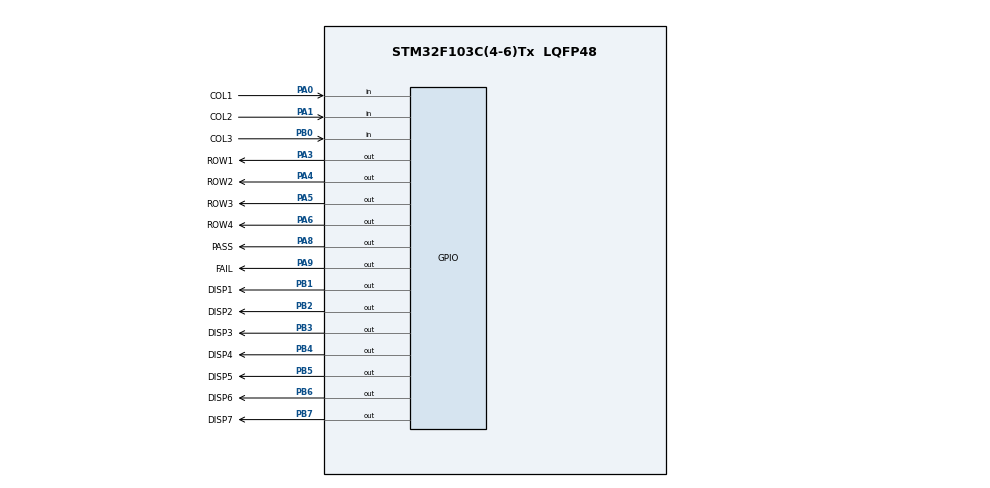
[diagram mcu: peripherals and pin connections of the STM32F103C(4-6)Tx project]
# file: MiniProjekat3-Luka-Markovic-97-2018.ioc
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Mcu.Family=STM32F1
Mcu.Name=STM32F103C(4-6)Tx
Mcu.Package=LQFP48
NVIC.PriorityGroup=NVIC_PRIORITYGROUP_4
PA0-WKUP.GPIO_Label=COL1
PA0-WKUP.Signal=GPIO_Input
PA1.GPIO_Label=COL2
PA1.Signal=GPIO_Input
PA3.GPIO_Label=ROW1
PA3.Signal=GPIO_Output
PA4.GPIO_Label=ROW2
PA4.Signal=GPIO_Output
PA5.GPIO_Label=ROW3
PA5.Signal=GPIO_Output
PA6.GPIO_Label=ROW4
PA6.Signal=GPIO_Output
PA8.GPIO_Label=PASS
PA8.Signal=GPIO_Output
PA9.GPIO_Label=FAIL
PA9.Signal=GPIO_Output
PB0.GPIO_Label=COL3
PB0.Signal=GPIO_Input
PB1.GPIO_Label=DISP1
PB1.Signal=GPIO_Output
PB2.GPIO_Label=DISP2
PB2.Signal=GPIO_Output
PB3.GPIO_Label=DISP3
PB3.Signal=GPIO_Output
PB4.GPIO_Label=DISP4
PB4.Signal=GPIO_Output
PB5.GPIO_Label=DISP5
PB5.Signal=GPIO_Output
PB6.GPIO_Label=DISP6
PB6.Signal=GPIO_Output
PB7.GPIO_Label=DISP7
PB7.Signal=GPIO_Output
ProjectManager.HeapSize=0x200
ProjectManager.StackSize=0x400
ProjectManager.TargetToolchain=STM32CubeIDE
RCC.AHBFreq_Value=8000000
RCC.APB1Freq_Value=8000000
RCC.APB1TimFreq_Value=8000000
RCC.APB2Freq_Value=8000000
RCC.APB2TimFreq_Value=8000000
RCC.HCLKFreq_Value=8000000
RCC.USBFreq_Value=8000000
board=custom

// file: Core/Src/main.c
/* USER CODE BEGIN Header */
/**
  ******************************************************************************
  * @file           : main.c
  * @brief          : Main program body
  ******************************************************************************
  * @attention
  *
  * Copyright (c) 2022 STMicroelectronics.
  * All rights reserved.
  *
  * This software is licensed under terms that can be found in the LICENSE file
  * in the root directory of this software component.
  * If no LICENSE file comes with this software, it is provided AS-IS.
  *
  ******************************************************************************
  */
/* USER CODE END Header */
#include "main.h"
#include "string.h"

void SystemClock_Config(void);
static void MX_GPIO_Init(void);

/* USER CODE BEGIN 0 */

void checkCode(char *passCode, char **inputCode)
{

	if(strlen(*inputCode) == 2)
	{
		if(strcmp(passCode,*inputCode) == 0)
		{
			HAL_GPIO_WritePin(GPIOA, PASS_Pin, 0);
		}
		else
		{
			HAL_GPIO_WritePin(GPIOA, FAIL_Pin, 0);
		}
	}
	else if (strlen(*inputCode) > 2)
	{
		strcpy(*inputCode,"");
		GPIOB->ODR = 0xFE;
		HAL_GPIO_WritePin(GPIOA, PASS_Pin, 1);
		HAL_GPIO_WritePin(GPIOA, FAIL_Pin, 1);
		return;
	}
	else
	{
		return;
	}

}

void read_keypad (char *passCode, char **inputCode)
{
	HAL_GPIO_WritePin (GPIOA, ROW1_Pin, GPIO_PIN_SET);
	HAL_GPIO_WritePin (GPIOA, ROW2_Pin, GPIO_PIN_RESET);
	HAL_GPIO_WritePin (GPIOA, ROW3_Pin, GPIO_PIN_RESET);
	HAL_GPIO_WritePin (GPIOA, ROW4_Pin, GPIO_PIN_RESET);

	if ((HAL_GPIO_ReadPin (GPIOA, COL1_Pin)))
	{
		//1
		GPIOB->ODR = ~0x0C;
		while(HAL_GPIO_ReadPin (GPIOA, COL1_Pin));
		strcat(*inputCode,"1");
		checkCode(passCode, inputCode);
		//return;
	}

	if ((HAL_GPIO_ReadPin (GPIOA, COL2_Pin)))
	{
		//2
		GPIOB->ODR = ~0xB6;
		while(HAL_GPIO_ReadPin (GPIOA, COL2_Pin));
		strcat(*inputCode,"2");
		checkCode(passCode, inputCode);
		//return;
	}

	if ((HAL_GPIO_ReadPin (GPIOB, COL3_Pin)))
	{
		//3
		GPIOB->ODR = ~0x9E;
		while(HAL_GPIO_ReadPin (GPIOB, COL3_Pin));
		strcat(*inputCode,"3");
		checkCode(passCode, inputCode);
		//return;
	}

	HAL_GPIO_WritePin (GPIOA, ROW1_Pin, GPIO_PIN_RESET);
	HAL_GPIO_WritePin (GPIOA, ROW2_Pin, GPIO_PIN_SET);
	HAL_GPIO_WritePin (GPIOA, ROW3_Pin, GPIO_PIN_RESET);
	HAL_GPIO_WritePin (GPIOA, ROW4_Pin, GPIO_PIN_RESET);

	if ((HAL_GPIO_ReadPin (GPIOA, COL1_Pin)))
	{
		//4
		GPIOB->ODR = ~0xCC;
		while(HAL_GPIO_ReadPin (GPIOA, COL1_Pin));
		strcat(*inputCode,"4");
		checkCode(passCode, inputCode);
		//return;

	}

	if ((HAL_GPIO_ReadPin (GPIOA, COL2_Pin)))
	{
		//5
		GPIOB->ODR = ~0xDA;
		while(HAL_GPIO_ReadPin (GPIOA, COL2_Pin));
		strcat(*inputCode,"5");
		checkCode(passCode, inputCode);
		//return;
	}

	if ((HAL_GPIO_ReadPin (GPIOB, COL3_Pin)))
	{
		//6
		GPIOB->ODR = ~0xFA;
		while(HAL_GPIO_ReadPin (GPIOB, COL3_Pin));
		strcat(*inputCode,"6");
		checkCode(passCode, inputCode);
		//return;
	}

	HAL_GPIO_WritePin (GPIOA, ROW1_Pin, GPIO_PIN_RESET);
	HAL_GPIO_WritePin (GPIOA, ROW2_Pin, GPIO_PIN_RESET);
	HAL_GPIO_WritePin (GPIOA, ROW3_Pin, GPIO_PIN_SET);
	HAL_GPIO_WritePin (GPIOA, ROW4_Pin, GPIO_PIN_RESET);

	if ((HAL_GPIO_ReadPin (GPIOA, COL1_Pin)))
	{
		//7
		GPIOB->ODR = ~0x0E;
		while(HAL_GPIO_ReadPin (GPIOA, COL1_Pin));
		strcat(*inputCode,"7");
		checkCode(passCode, inputCode);
		//return;
	}

	if ((HAL_GPIO_ReadPin (GPIOA, COL2_Pin)))
	{
		//8
		GPIOB->ODR = ~0xFD;
		while(HAL_GPIO_ReadPin (GPIOA, COL2_Pin));
		strcat(*inputCode,"8");
		checkCode(passCode, inputCode);
		//return;
	}

	if ((HAL_GPIO_ReadPin (GPIOB, COL3_Pin)))
	{
		//9
		GPIOB->ODR = ~0xDE;
		while(HAL_GPIO_ReadPin (GPIOB, COL3_Pin));
		strcat(*inputCode,"9");
		checkCode(passCode, inputCode);
		//return;
	}

	HAL_GPIO_WritePin (GPIOA, ROW1_Pin, GPIO_PIN_RESET);
	HAL_GPIO_WritePin (GPIOA, ROW2_Pin, GPIO_PIN_RESET);
	HAL_GPIO_WritePin (GPIOA, ROW3_Pin, GPIO_PIN_RESET);
	HAL_GPIO_WritePin (GPIOA, ROW4_Pin, GPIO_PIN_SET);

	if ((HAL_GPIO_ReadPin (GPIOA, COL1_Pin)))
	{
		while(HAL_GPIO_ReadPin (GPIOA, COL1_Pin));
		//return;
	}

	if ((HAL_GPIO_ReadPin (GPIOA, COL2_Pin)))
	{
		while(HAL_GPIO_ReadPin (GPIOA, COL2_Pin));
		//return;
	}

	if ((HAL_GPIO_ReadPin (GPIOB, COL3_Pin)))
	{

		while(HAL_GPIO_ReadPin (GPIOB, COL3_Pin));
		//return;
	}

}

/* USER CODE END 0 */

int main(void)
{

  /* MCU Configuration--------------------------------------------------------*/

  /* Reset of all peripherals, Initializes the Flash interface and the Systick. */
  HAL_Init();

  /* Configure the system clock */
  SystemClock_Config();

  /* Initialize all configured peripherals */
  MX_GPIO_Init();
  /* USER CODE BEGIN 2 */
  char passCode[2] = "97";
  char *inputCode;

  /* USER CODE END 2 */

  /* Infinite loop */
  while (1)
  {

    /* USER CODE BEGIN 3 */

	  read_keypad(passCode, &inputCode);
	  HAL_Delay(50);

  }

  /* USER CODE END 3 */
}

void SystemClock_Config(void)
{
  RCC_OscInitTypeDef RCC_OscInitStruct = {0};
  RCC_ClkInitTypeDef RCC_ClkInitStruct = {0};

  /** Initializes the RCC Oscillators according to the specified parameters
  * in the RCC_OscInitTypeDef structure.
  */
  RCC_OscInitStruct.OscillatorType = RCC_OSCILLATORTYPE_HSI;
  RCC_OscInitStruct.HSIState = RCC_HSI_ON;
  RCC_OscInitStruct.HSICalibrationValue = RCC_HSICALIBRATION_DEFAULT;
  RCC_OscInitStruct.PLL.PLLState = RCC_PLL_NONE;
  if (HAL_RCC_OscConfig(&RCC_OscInitStruct) != HAL_OK)
  {
    Error_Handler();
  }

  /** Initializes the CPU, AHB and APB buses clocks
  */
  RCC_ClkInitStruct.ClockType = RCC_CLOCKTYPE_HCLK|RCC_CLOCKTYPE_SYSCLK
                              |RCC_CLOCKTYPE_PCLK1|RCC_CLOCKTYPE_PCLK2;
  RCC_ClkInitStruct.SYSCLKSource = RCC_SYSCLKSOURCE_HSI;
  RCC_ClkInitStruct.AHBCLKDivider = RCC_SYSCLK_DIV1;
  RCC_ClkInitStruct.APB1CLKDivider = RCC_HCLK_DIV1;
  RCC_ClkInitStruct.APB2CLKDivider = RCC_HCLK_DIV1;

  if (HAL_RCC_ClockConfig(&RCC_ClkInitStruct, FLASH_LATENCY_0) != HAL_OK)
  {
    Error_Handler();
  }
}

static void MX_GPIO_Init(void)
{
  GPIO_InitTypeDef GPIO_InitStruct = {0};

  /* GPIO Ports Clock Enable */
  __HAL_RCC_GPIOA_CLK_ENABLE();
  __HAL_RCC_GPIOB_CLK_ENABLE();

  /*Configure GPIO pin Output Level */
  HAL_GPIO_WritePin(GPIOA, ROW1_Pin|ROW2_Pin|ROW3_Pin|ROW4_Pin, GPIO_PIN_RESET);

  HAL_GPIO_WritePin(GPIOA, PASS_Pin|FAIL_Pin, GPIO_PIN_SET);

  /*Configure GPIO pin Output Level */
  HAL_GPIO_WritePin(GPIOB, DISP1_Pin|DISP2_Pin|DISP3_Pin|DISP4_Pin
                          |DISP5_Pin|DISP6_Pin|DISP7_Pin, GPIO_PIN_SET);

  /*Configure GPIO pins : COL1_Pin COL2_Pin */
  GPIO_InitStruct.Pin = COL1_Pin|COL2_Pin;
  GPIO_InitStruct.Mode = GPIO_MODE_INPUT;
  GPIO_InitStruct.Pull = GPIO_PULLUP;
  HAL_GPIO_Init(GPIOA, &GPIO_InitStruct);

  /*Configure GPIO pins : ROW1_Pin ROW2_Pin ROW3_Pin ROW4_Pin
                           PASS_Pin FAIL_Pin */
  GPIO_InitStruct.Pin = ROW1_Pin|ROW2_Pin|ROW3_Pin|ROW4_Pin
                          |PASS_Pin|FAIL_Pin;
  GPIO_InitStruct.Mode = GPIO_MODE_OUTPUT_PP;
  GPIO_InitStruct.Pull = GPIO_NOPULL;
  GPIO_InitStruct.Speed = GPIO_SPEED_FREQ_LOW;
  HAL_GPIO_Init(GPIOA, &GPIO_InitStruct);

  /*Configure GPIO pin : COL3_Pin */
  GPIO_InitStruct.Pin = COL3_Pin;
  GPIO_InitStruct.Mode = GPIO_MODE_INPUT;
  GPIO_InitStruct.Pull = GPIO_NOPULL;
  HAL_GPIO_Init(COL3_GPIO_Port, &GPIO_InitStruct);

  /*Configure GPIO pins : DISP1_Pin DISP2_Pin DISP3_Pin DISP4_Pin
                           DISP5_Pin DISP6_Pin DISP7_Pin */
  GPIO_InitStruct.Pin = DISP1_Pin|DISP2_Pin|DISP3_Pin|DISP4_Pin
                          |DISP5_Pin|DISP6_Pin|DISP7_Pin;
  GPIO_InitStruct.Mode = GPIO_MODE_OUTPUT_PP;
  GPIO_InitStruct.Pull = GPIO_NOPULL;
  GPIO_InitStruct.Speed = GPIO_SPEED_FREQ_LOW;
  HAL_GPIO_Init(GPIOB, &GPIO_InitStruct);

}

void Error_Handler(void)
{
  __disable_irq();
  while (1)
  {
  }
}
